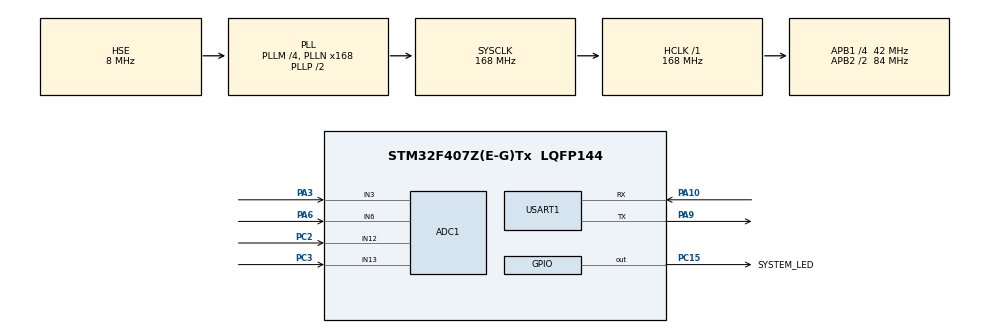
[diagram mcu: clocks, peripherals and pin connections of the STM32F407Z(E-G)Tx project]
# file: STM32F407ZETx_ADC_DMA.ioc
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ADC1.Channel-0\#ChannelRegularConversion=ADC_CHANNEL_3
ADC1.Channel-6\#ChannelRegularConversion=ADC_CHANNEL_6
ADC1.Channel-7\#ChannelRegularConversion=ADC_CHANNEL_12
ADC1.Channel-8\#ChannelRegularConversion=ADC_CHANNEL_13
ADC1.ClockPrescaler=ADC_CLOCK_SYNC_PCLK_DIV4
ADC1.ContinuousConvMode=ENABLE
ADC1.DMAContinuousRequests=ENABLE
ADC1.DiscontinuousConvMode=DISABLE
ADC1.EOCSelection=ADC_EOC_SINGLE_CONV
ADC1.InjNumberOfConversion=0
ADC1.NbrOfConversion=4
ADC1.NbrOfConversionFlag=1
ADC1.Rank-0\#ChannelRegularConversion=1
ADC1.Rank-6\#ChannelRegularConversion=2
ADC1.Rank-7\#ChannelRegularConversion=3
ADC1.Rank-8\#ChannelRegularConversion=4
ADC1.SamplingTime-0\#ChannelRegularConversion=ADC_SAMPLETIME_3CYCLES
ADC1.SamplingTime-6\#ChannelRegularConversion=ADC_SAMPLETIME_3CYCLES
ADC1.SamplingTime-7\#ChannelRegularConversion=ADC_SAMPLETIME_3CYCLES
ADC1.SamplingTime-8\#ChannelRegularConversion=ADC_SAMPLETIME_3CYCLES
ADC1.master=1
Dma.ADC1.0.Direction=DMA_PERIPH_TO_MEMORY
Dma.ADC1.0.FIFOMode=DMA_FIFOMODE_DISABLE
Dma.ADC1.0.Instance=DMA2_Stream0
Dma.ADC1.0.MemDataAlignment=DMA_MDATAALIGN_WORD
Dma.ADC1.0.MemInc=DMA_MINC_ENABLE
Dma.ADC1.0.Mode=DMA_CIRCULAR
Dma.ADC1.0.PeriphDataAlignment=DMA_PDATAALIGN_WORD
Dma.ADC1.0.PeriphInc=DMA_PINC_DISABLE
Dma.ADC1.0.Priority=DMA_PRIORITY_LOW
Dma.Request0=ADC1
Mcu.Family=STM32F4
Mcu.Name=STM32F407Z(E-G)Tx
Mcu.Package=LQFP144
NVIC.ADC_IRQn=true\:0\:0\:false\:false\:true\:true\:true
NVIC.DMA2_Stream0_IRQn=true\:0\:0\:false\:false\:true\:false\:true
NVIC.PriorityGroup=NVIC_PRIORITYGROUP_4
NVIC.TIM2_IRQn=true\:0\:0\:false\:false\:true\:true\:true
PA10.Mode=Asynchronous
PA10.Signal=USART1_RX
PA3.Signal=ADCx_IN3
PA6.Signal=ADCx_IN6
PA9.Mode=Asynchronous
PA9.Signal=USART1_TX
PC15-OSC32_OUT.GPIO_Label=SYSTEM_LED
PC15-OSC32_OUT.Signal=GPIO_Output
PC2.Signal=ADCx_IN12
PC3.Signal=ADCx_IN13
PH0-OSC_IN.Mode=HSE-External-Oscillator
PH0-OSC_IN.Signal=RCC_OSC_IN
PH1-OSC_OUT.Mode=HSE-External-Oscillator
PH1-OSC_OUT.Signal=RCC_OSC_OUT
ProjectManager.HeapSize=0x200
ProjectManager.StackSize=0x400
ProjectManager.TargetToolchain=MDK-ARM V5.27
RCC.48MHZClocksFreq_Value=84000000
RCC.AHBFreq_Value=168000000
RCC.APB1CLKDivider=RCC_HCLK_DIV4
RCC.APB1Freq_Value=42000000
RCC.APB1TimFreq_Value=84000000
RCC.APB2CLKDivider=RCC_HCLK_DIV2
RCC.APB2Freq_Value=84000000
RCC.APB2TimFreq_Value=168000000
RCC.CortexFreq_Value=168000000
RCC.HCLKFreq_Value=168000000
RCC.HSE_VALUE=8000000
RCC.HSI_VALUE=16000000
RCC.LSE_VALUE=32768
RCC.PLLM=4
RCC.PLLN=168
RCC.PLLSourceVirtual=RCC_PLLSOURCE_HSE
RCC.SYSCLKFreq_VALUE=168000000
RCC.SYSCLKSource=RCC_SYSCLKSOURCE_PLLCLK
RCC.VCOOutputFreq_Value=336000000
SH.ADCx_IN12.0=ADC1_IN12,IN12
SH.ADCx_IN13.0=ADC1_IN13,IN13
SH.ADCx_IN3.0=ADC1_IN3,IN3
SH.ADCx_IN6.0=ADC1_IN6,IN6
TIM2.Period=8399
TIM2.Prescaler=9999
TIM2.TIM_MasterOutputTrigger=TIM_TRGO_UPDATE
USART1.VirtualMode=VM_ASYNC
VP_TIM2_VS_ClockSourceINT.Mode=Internal
board=custom

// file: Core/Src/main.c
/* USER CODE BEGIN Header */
/**
  ******************************************************************************
  * @file           : main.c
  * @brief          : Main program body
  ******************************************************************************
  * @attention
  *
  * <h2><center>&copy; Copyright (c) 2021 STMicroelectronics.
  * All rights reserved.</center></h2>
  *
  * This software component is licensed by ST under BSD 3-Clause license,
  * the "License"; You may not use this file except in compliance with the
  * License. You may obtain a copy of the License at:
  *                        opensource.org/licenses/BSD-3-Clause
  *
  ******************************************************************************
  */
/* USER CODE END Header */
#include "main.h"
#include "adc.h"
#include "dma.h"
#include "tim.h"
#include "usart.h"
#include "gpio.h"

/* USER CODE BEGIN PD */
#define PERIODOC_SAMPLING_NUMBER    350
#define SAMPLE_NUMBER               (PERIODOC_SAMPLING_NUMBER*4)

/* USER CODE END PD */

/* USER CODE BEGIN PV */
uint32_t ADC_DMABuffer[SAMPLE_NUMBER] = {0};
uint8_t ADC_Conv_Flag;

uint16_t channel3_buffer[PERIODOC_SAMPLING_NUMBER] = {0};
uint16_t channel6_buffer[PERIODOC_SAMPLING_NUMBER] = {0};
uint16_t channel12_buffer[PERIODOC_SAMPLING_NUMBER] = {0};
uint16_t channel13_buffer[PERIODOC_SAMPLING_NUMBER] = {0};
/* USER CODE END PV */

void SystemClock_Config(void);

/* USER CODE BEGIN 0 */
void HAL_ADC_ConvCpltCallback(ADC_HandleTypeDef* hadc)
{

    if (hadc == &hadc1)
    {
        HAL_ADC_Stop_DMA(&hadc1);
        for (uint16_t i = 0; i < PERIODOC_SAMPLING_NUMBER; i++)
        {
            channel3_buffer[i] = ADC_DMABuffer[i*4];
            channel6_buffer[i] = ADC_DMABuffer[i*4+1];
            channel12_buffer[i] = ADC_DMABuffer[i*4+2];
            channel12_buffer[i] = ADC_DMABuffer[i*4+3];
        }
        for (uint16_t i = 0; i < PERIODOC_SAMPLING_NUMBER; i++)
        {
            printf("%d\r\n", channel3_buffer[i]);
        }
        printf("\r\n");
        for (uint16_t i = 0; i < PERIODOC_SAMPLING_NUMBER; i++)
        {
            printf("%d\r\n", channel6_buffer[i]);
        }
        printf("\r\n");
    }
}

void HAL_TIM_PeriodElapsedCallback(TIM_HandleTypeDef *htim)
{
    if (htim == &htim2)
    {
        HAL_ADC_Start_DMA(&hadc1, (uint32_t *)ADC_DMABuffer, SAMPLE_NUMBER);
        HAL_GPIO_TogglePin(SYSTEM_LED_GPIO_Port, SYSTEM_LED_Pin);
    }
}
/* USER CODE END 0 */

int main(void)
{

  /* MCU Configuration--------------------------------------------------------*/

  /* Reset of all peripherals, Initializes the Flash interface and the Systick. */
  HAL_Init();

  /* Configure the system clock */
  SystemClock_Config();

  /* Initialize all configured peripherals */
  MX_GPIO_Init();
  MX_DMA_Init();
  MX_USART1_UART_Init();
  MX_ADC1_Init();
  MX_TIM2_Init();

  /* Infinite loop */
    while (1)
    {

    /* USER CODE BEGIN 3 */
//        HAL_ADC_Start_DMA(&hadc1, (uint32_t *)ADC_DMABuffer, SAMPLE_NUMBER);
//        HAL_GPIO_TogglePin(SYSTEM_LED_GPIO_Port, SYSTEM_LED_Pin);
//        HAL_Delay(5000);
    }

  /* USER CODE END 3 */
}

void SystemClock_Config(void)
{
  RCC_OscInitTypeDef RCC_OscInitStruct = {0};
  RCC_ClkInitTypeDef RCC_ClkInitStruct = {0};

  /** Configure the main internal regulator output voltage
  */
  __HAL_RCC_PWR_CLK_ENABLE();
  __HAL_PWR_VOLTAGESCALING_CONFIG(PWR_REGULATOR_VOLTAGE_SCALE1);
  /** Initializes the RCC Oscillators according to the specified parameters
  * in the RCC_OscInitTypeDef structure.
  */
  RCC_OscInitStruct.OscillatorType = RCC_OSCILLATORTYPE_HSE;
  RCC_OscInitStruct.HSEState = RCC_HSE_ON;
  RCC_OscInitStruct.PLL.PLLState = RCC_PLL_ON;
  RCC_OscInitStruct.PLL.PLLSource = RCC_PLLSOURCE_HSE;
  RCC_OscInitStruct.PLL.PLLM = 4;
  RCC_OscInitStruct.PLL.PLLN = 168;
  RCC_OscInitStruct.PLL.PLLP = RCC_PLLP_DIV2;
  RCC_OscInitStruct.PLL.PLLQ = 4;
  if (HAL_RCC_OscConfig(&RCC_OscInitStruct) != HAL_OK)
  {
    Error_Handler();
  }
  /** Initializes the CPU, AHB and APB buses clocks
  */
  RCC_ClkInitStruct.ClockType = RCC_CLOCKTYPE_HCLK|RCC_CLOCKTYPE_SYSCLK
                              |RCC_CLOCKTYPE_PCLK1|RCC_CLOCKTYPE_PCLK2;
  RCC_ClkInitStruct.SYSCLKSource = RCC_SYSCLKSOURCE_PLLCLK;
  RCC_ClkInitStruct.AHBCLKDivider = RCC_SYSCLK_DIV1;
  RCC_ClkInitStruct.APB1CLKDivider = RCC_HCLK_DIV4;
  RCC_ClkInitStruct.APB2CLKDivider = RCC_HCLK_DIV2;

  if (HAL_RCC_ClockConfig(&RCC_ClkInitStruct, FLASH_LATENCY_5) != HAL_OK)
  {
    Error_Handler();
  }
}

void Error_Handler(void)
{
  __disable_irq();
  while (1)
  {
  }
}

/************************ (C) COPYRIGHT STMicroelectronics *****END OF FILE****/
